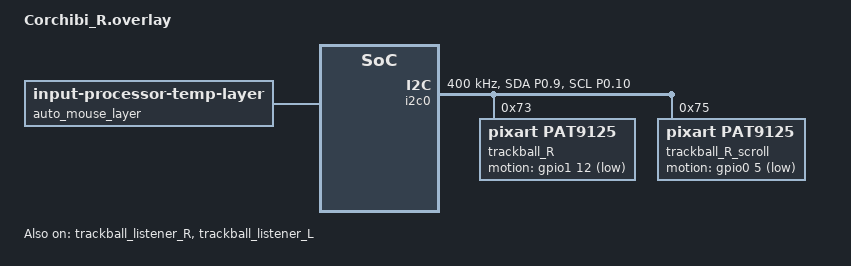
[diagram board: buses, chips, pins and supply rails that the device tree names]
#include "corchibi.dtsi"
#include <dt-bindings/pinctrl/nrf-pinctrl.h>
#include <dt-bindings/zmk/input_transform.h>
#include <zephyr/dt-bindings/input/input-event-codes.h>
#include <input/processors.dtsi>
#include <behaviors/input_gestures_accel.dtsi>
#include <input/processors/report_rate_limit.dtsi>

&default_transform {
    col-offset = <6>;
};

&kscan0 {
    compatible = "zmk,kscan-gpio-charlieplex";
    gpios
        = <&gpio0 3 (GPIO_ACTIVE_HIGH)>
        , <&gpio0 28 (GPIO_ACTIVE_HIGH)>
        , <&gpio0 29 (GPIO_ACTIVE_HIGH)>
        , <&gpio1 11 (GPIO_ACTIVE_HIGH)>
        , <&gpio1 15 (GPIO_ACTIVE_HIGH)>
        , <&gpio1 14 (GPIO_ACTIVE_HIGH)>
        ;
};

&pinctrl {
    i2c0_default: i2c0_default {
        group1 {
            psels = <NRF_PSEL(TWIM_SDA, 0, 9)>, <NRF_PSEL(TWIM_SCL, 0, 10)>;
        };
    };
    i2c0_sleep: i2c0_sleep {
        group1 {
            psels = <NRF_PSEL(TWIM_SDA, 0, 9)>, <NRF_PSEL(TWIM_SCL, 0, 10)>;
            low-power-enable;
        };
    };
};

&pointer_accel {
    input-type = <INPUT_EV_REL>;
    codes = <INPUT_REL_X INPUT_REL_Y>;
    sensitivity = <2000>;
    min-factor = <1000>;
    max-factor = <3000>;
    speed-threshold = <500>;
    speed-max = <3600>;
    acceleration-exponent = <1>;
    sensor-dpi = <1275>;
};

/ {
    scroll_accel_R: scroll_accel_R {
        compatible = "zmk,input-processor-acceleration";
        status = "okay";
        #input-processor-cells = <0>;
        input-type = <INPUT_EV_REL>;
        codes = <INPUT_REL_WHEEL INPUT_REL_HWHEEL>;
        sensitivity = <1000>;
        min-factor = <300>;
        max-factor = <3000>;
        speed-threshold = <600>;
        speed-max = <4200>;
        acceleration-exponent = <2>;
        sensor-dpi = <1275>;
    };

    scroll_accel_R_scroll: scroll_accel_R_scroll {
        compatible = "zmk,input-processor-acceleration";
        status = "okay";
        #input-processor-cells = <0>;
        input-type = <INPUT_EV_REL>;
        codes = <INPUT_REL_WHEEL INPUT_REL_HWHEEL>;
        sensitivity = <1000>;
        min-factor = <300>;
        max-factor = <3000>;
        speed-threshold = <600>;
        speed-max = <4200>;
        acceleration-exponent = <2>;
        sensor-dpi = <1275>;
    };

    vertical_scroll_mapper_R: vertical_scroll_mapper_R {
        compatible = "zmk,input-processor-vertical-scroll";
        #input-processor-cells = <0>;
        type = <INPUT_EV_REL>;
    };

    vertical_scroll_mapper_R_scroll: vertical_scroll_mapper_R_scroll {
        compatible = "zmk,input-processor-vertical-scroll";
        #input-processor-cells = <0>;
        type = <INPUT_EV_REL>;
    };

};

/ {
    trackball_listener_R_scroll: trackball_listener_R_scroll {
        compatible = "zmk,input-listener";
        status = "okay";
        device = <&trackball_R_scroll>;
        input-processors =
            <&auto_mouse_layer 4 700>,
            <&pointer_accel>,
            <&zip_xy_scaler 1 10>,
            <&zip_report_rate_limit 4>;

        scroll_layer {
            layers = <5>;
            input-processors =
                <&zip_report_rate_limit 8>,
                <&zip_xy_transform (INPUT_TRANSFORM_Y_INVERT)>,
                <&vertical_scroll_mapper_R_scroll>,
                <&zip_scroll_transform (INPUT_TRANSFORM_X_INVERT | INPUT_TRANSFORM_Y_INVERT)>,
                <&scroll_accel_R_scroll>,
                <&zip_scroll_scaler 1 480>;
        };
    };
};

/ {
    /* Auto-mouse layer with typing vibration protection */
    auto_mouse_layer: auto_mouse_layer {
        compatible = "zmk,input-processor-temp-layer";
        #input-processor-cells = <2>;
        require-prior-idle-ms = <200>;
        excluded-positions = <38 36 46>;  /* J(MB1), K(MB3), L(MB2) */
    };
};

&trackball_listener_R {
    status = "okay";
    device = <&trackball_R>;
    input-processors =
        <&auto_mouse_layer 4 700>,
        <&pointer_accel>,
        <&zip_xy_scaler 1 10>,
        <&zip_report_rate_limit 4>;

    scroll_layer {
        layers = <5>;
        input-processors =
            <&zip_report_rate_limit 8>,
            <&zip_xy_transform (INPUT_TRANSFORM_Y_INVERT)>,
            <&vertical_scroll_mapper_R>,
            <&zip_scroll_transform (INPUT_TRANSFORM_X_INVERT | INPUT_TRANSFORM_Y_INVERT)>,
            <&scroll_accel_R>,
            <&zip_scroll_scaler 1 480>;
    };
};

&i2c0 {
    status = "okay";
    compatible = "nordic,nrf-twim";
    pinctrl-0 = <&i2c0_default>;
    pinctrl-1 = <&i2c0_sleep>;
    pinctrl-names = "default", "sleep";
    clock-frequency = <I2C_BITRATE_FAST>;
    #address-cells = <1>;
    #size-cells = <0>;

    trackball_R: trackball_R@73 {
        compatible = "pixart,pat9125";
        reg = <0x73>;
        status = "okay";
        motion-gpios = <&gpio1 12 (GPIO_ACTIVE_LOW | GPIO_PULL_UP)>;
        res-x-cpi = <1275>;
        res-y-cpi = <1275>;
        zephyr,axis-x = <INPUT_REL_X>;
        zephyr,axis-y = <INPUT_REL_Y>;
    };

    trackball_R_scroll: trackball_R_scroll@75 {
        compatible = "pixart,pat9125";
        reg = <0x75>;
        status = "okay";
        motion-gpios = <&gpio0 5 (GPIO_ACTIVE_LOW | GPIO_PULL_UP)>;
        res-x-cpi = <1275>;
        res-y-cpi = <1275>;
        zephyr,axis-x = <INPUT_REL_X>;
        zephyr,axis-y = <INPUT_REL_Y>;
    };
};

/* L側のトラックボール信号をスクロールとして受信する設定 */
&trackball_listener_L {
    status = "okay";
    device = <&trackball_split_L>;
    input-processors =
        <&zip_report_rate_limit 8>,
        <&zip_xy_transform (INPUT_TRANSFORM_Y_INVERT)>,
        <&zip_xy_to_scroll_mapper>,
        <&zip_scroll_scaler 1 4>;
};
